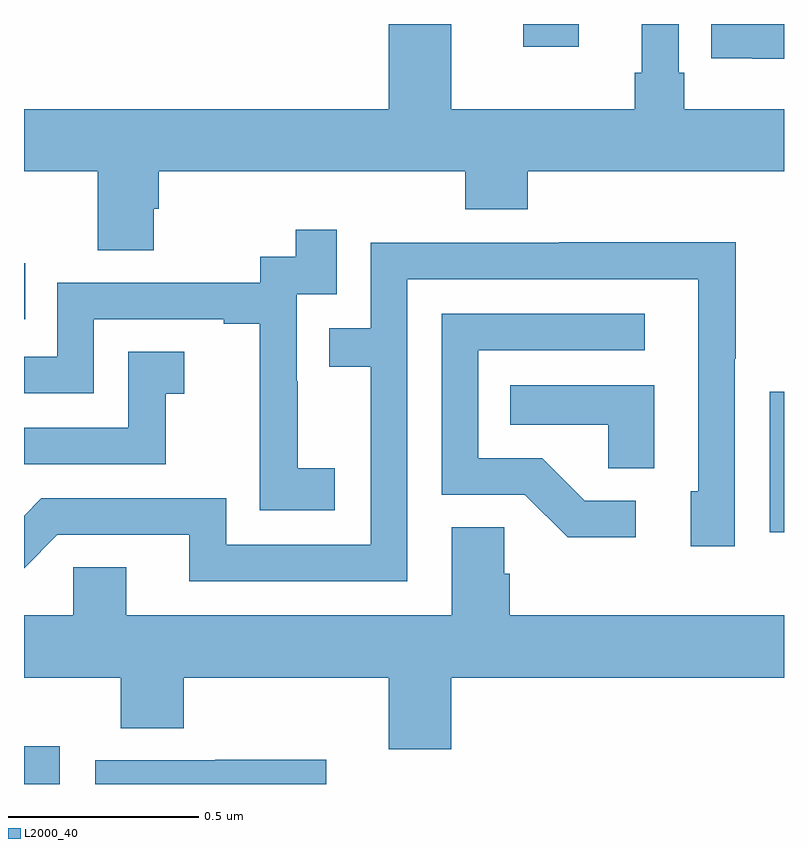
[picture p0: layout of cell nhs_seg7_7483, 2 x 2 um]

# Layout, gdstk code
import gdstk
lib = gdstk.Library(unit=1e-6, precision=1e-09)
def R(c, l, rs):  # rectangles x0, y0, x1, y1
    for r in rs: c.add(gdstk.rectangle(r[:2], r[2:], *l))
def P(c, l, *ps):  # polygons
    for p in ps: c.add(gdstk.Polygon(p, *l))
L2000_40 = (2000, 40)

nhs_seg7_7483 = lib.new_cell('nhs_seg7_7483')
R(nhs_seg7_7483, L2000_40, [(212,1003,212.094,1003.099), (213.963,1003.662,214,1004.032), (212,1004.223,212.003,1004.371), (213.314,1004.94,213.46,1005)])
P(nhs_seg7_7483, L2000_40, [(212.341,1004.514),(212.354,1004.514),(212.354,1004.612),(213.161,1004.612),(213.161,1004.513),(213.326,1004.513),(213.326,1004.612),(214,1004.612),(214,1004.776),(213.737,1004.776),(213.737,1004.872),(213.723,1004.872),(213.723,1005),(213.626,1005),(213.626,1004.872),(213.607,1004.872),(213.607,1004.776),(213.124,1004.776),(213.124,1005),(212.96,1005),(212.96,1004.776),(212,1004.776),(212,1004.612),(212.194,1004.612),(212.194,1004.404),(212.341,1004.404)],
  [(214,1005),(213.808,1005),(213.808,1004.91),(213.916,1004.91),(213.916,1004.909),(214,1004.909)],
  [(212.818,1003.831),(212.72,1003.831),(212.72,1004.06),(212.718,1004.06),(212.718,1004.289),(212.823,1004.289),(212.823,1004.458),(212.715,1004.458),(212.715,1004.388),(212.622,1004.388),(212.622,1004.319),(212.088,1004.319),(212.088,1004.124),(212,1004.124),(212,1004.028),(212.184,1004.028),(212.184,1004.223),(212.525,1004.223),(212.525,1004.211),(212.621,1004.211),(212.621,1003.927),(212.62,1003.927),(212.62,1003.721),(212.818,1003.721)],
  [(213.009,1004.328),(213.774,1004.328),(213.774,1003.77),(213.755,1003.77),(213.755,1003.626),(213.87,1003.626),(213.87,1004.119),(213.873,1004.119),(213.873,1004.426),(213.409,1004.426),(213.409,1004.424),(212.913,1004.424),(212.913,1004.199),(212.803,1004.199),(212.803,1004.098),(212.913,1004.098),(212.913,1003.629),(212.532,1003.629),(212.532,1003.752),(212.046,1003.752),(212,1003.706),(212,1003.568),(212.088,1003.656),(212.435,1003.656),(212.435,1003.533),(213.009,1003.533)],
  [(213.61,1003.746),(213.475,1003.746),(213.364,1003.857),(213.195,1003.857),(213.195,1004.142),(213.634,1004.142),(213.634,1004.238),(213.099,1004.238),(213.099,1003.761),(213.318,1003.761),(213.431,1003.649),(213.61,1003.649)],
  [(212.373,1004.027),(212.422,1004.027),(212.422,1004.137),(212.274,1004.137),(212.274,1003.938),(212,1003.938),(212,1003.842),(212.373,1003.842)],
  [(213.658,1004.05),(213.28,1004.05),(213.28,1003.946),(213.537,1003.946),(213.537,1003.831),(213.658,1003.831)],
  [(213.124,1003.28),(214,1003.28),(214,1003.444),(213.278,1003.444),(213.278,1003.553),(213.264,1003.553),(213.264,1003.676),(213.125,1003.676),(213.125,1003.444),(212.269,1003.444),(212.269,1003.571),(212.13,1003.571),(212.13,1003.444),(212,1003.444),(212,1003.28),(212.255,1003.28),(212.255,1003.147),(212.42,1003.147),(212.42,1003.28),(212.96,1003.28),(212.96,1003.092),(213.124,1003.092)],
  [(212.795,1003.064),(212.503,1003.064),(212.503,1003.062),(212.187,1003.062),(212.187,1003),(212.795,1003)])

lib.write_gds('nhs_seg7_7483.gds')
